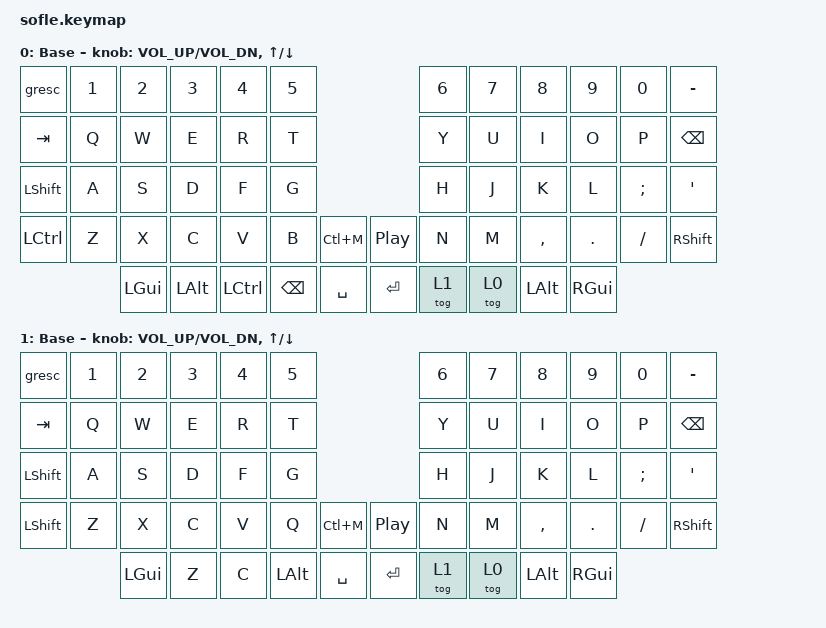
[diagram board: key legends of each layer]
/*
 * Copyright (c) 2020 The ZMK Contributors
 *
 * SPDX-License-Identifier: MIT
 */

#include <behaviors.dtsi>
#include <dt-bindings/zmk/keys.h>

// Encoders

&sensors { triggers-per-rotation = <30>; };

&left_encoder { steps = <60>; };

&right_encoder { steps = <60>; };

#define BASE 0
#define LOWER 1
#define RAISE 2
#define ADJUST 3

/ {
    // Activate ADJUST layer by pressing raise and lower

    conditional_layers {
        compatible = "zmk,conditional-layers";

        adjust_layer {
            if-layers = <2 2>;
            then-layer = <3>;
        };
    };

    combos {
        compatible = "zmk,combos";

        backspace {
            bindings = <&kp BACKSPACE>;
            key-positions = <32 31>;
        };

        delete {
            bindings = <&kp DELETE>;
            key-positions = <27 33>;
        };

        esc {
            bindings = <&kp ESCAPE>;
            key-positions = <25 41>;
        };
    };

    behaviors {
        caps: caps {
            compatible = "zmk,behavior-caps-word";
            label = "CAPS";
            #binding-cells = <0>;
            continue-list = <POUND MINUS BACKSPACE UNDERSCORE>;
        };
    };

    keymap {
        compatible = "zmk,keymap";

        base {
            display-name = "Base";

            // ------------------------------------------------------------------------------------------------------------
            // |   `   |  1  |  2  |  3   |  4   |  5   |                   |  6   |  7    |  8    |  9   |   0   |       |
            // |  ESC  |  Q  |  W  |  E   |  R   |  T   |                   |  Y   |  U    |  I    |  O   |   P   | BKSPC |
            // |  TAB  |  A  |  S  |  D   |  F   |  G   |                   |  H   |  J    |  K    |  L   |   ;   |   '   |
            // | SHIFT |  Z  |  X  |  C   |  V   |  B   |  MUTE  |  |       |  N   |  M    |  ,    |  .   |   /   | SHIFT |
            //               | GUI | ALT  | CTRL | LOWER|  ENTER |  | SPACE | RAISE| CTRL  | ALT   | GUI  |

            bindings = <
&gresc            &kp N1  &kp N2    &kp N3        &kp N4            &kp N5                                        &kp N6  &kp N7  &kp N8     &kp N9    &kp N0    &kp MINUS
&kp TAB           &kp Q   &kp W     &kp E         &kp R             &kp T                                         &kp Y   &kp U   &kp I      &kp O     &kp P     &kp BSPC
&kp LEFT_SHIFT    &kp A   &kp S     &kp D         &kp F             &kp G                                         &kp H   &kp J   &kp K      &kp L     &kp SEMI  &kp SQT
&kp LEFT_CONTROL  &kp Z   &kp X     &kp C         &kp V             &kp B          &kp LC(M)    &kp C_PLAY_PAUSE  &kp N   &kp M   &kp COMMA  &kp DOT   &kp FSLH  &kp RSHFT
                          &kp LGUI  &kp LEFT_ALT  &kp LEFT_CONTROL  &kp BACKSPACE  &kp SPACE    &kp ENTER         &tog 1  &tog 0  &kp LALT   &kp RGUI
            >;

            sensor-bindings = <&inc_dec_kp C_VOL_UP C_VOL_DN &inc_dec_kp UP DOWN>;
        };

        arc_layer {
            display-name = "Base";
            bindings = <
&gresc          &kp N1  &kp N2    &kp N3  &kp N4  &kp N5                                       &kp N6  &kp N7  &kp N8     &kp N9    &kp N0    &kp MINUS
&kp TAB         &kp Q   &kp W     &kp E   &kp R   &kp T                                        &kp Y   &kp U   &kp I      &kp O     &kp P     &kp BSPC
&kp LEFT_SHIFT  &kp A   &kp S     &kp D   &kp F   &kp G                                        &kp H   &kp J   &kp K      &kp L     &kp SEMI  &kp SQT
&kp LEFT_SHIFT  &kp Z   &kp X     &kp C   &kp V   &kp Q         &kp LC(M)    &kp C_PLAY_PAUSE  &kp N   &kp M   &kp COMMA  &kp DOT   &kp FSLH  &kp RSHFT
                        &kp LGUI  &kp Z   &kp C   &kp LEFT_ALT  &kp SPACE    &kp ENTER         &tog 1  &tog 0  &kp LALT   &kp RGUI
            >;

            sensor-bindings =
                <&inc_dec_kp C_VOL_UP C_VOL_DN>,
                <&inc_dec_kp UP DOWN>;
        };
    };
};
